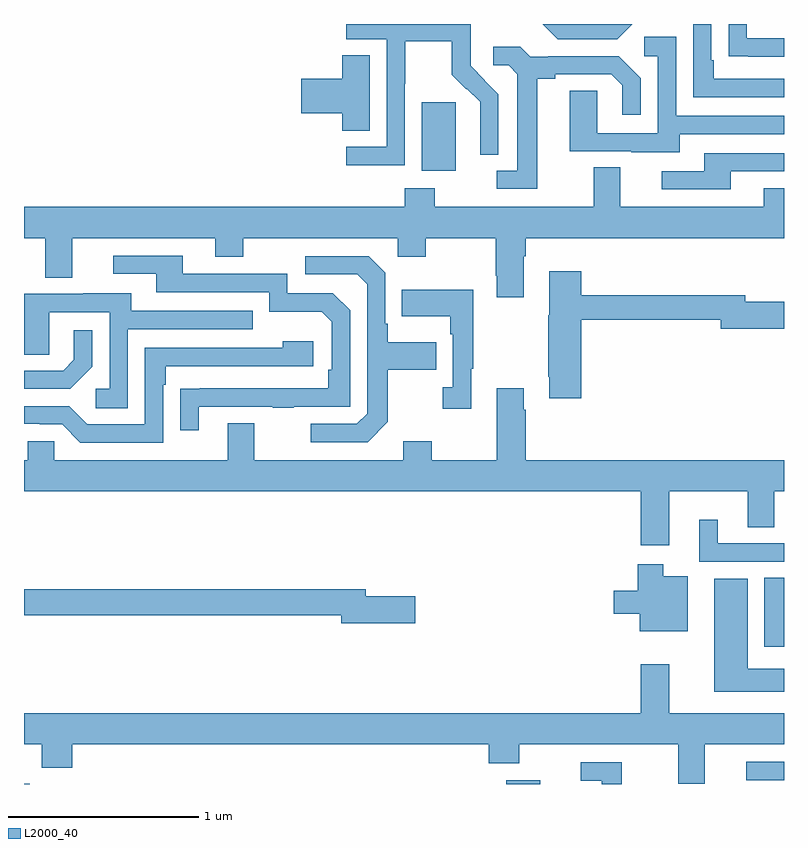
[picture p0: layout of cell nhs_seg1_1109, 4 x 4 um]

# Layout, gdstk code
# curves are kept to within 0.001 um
import gdstk
lib = gdstk.Library(unit=1e-6, precision=1e-09)
def R(c, l, rs):  # rectangles x0, y0, x1, y1
    for r in rs: c.add(gdstk.rectangle(r[:2], r[2:], *l))
def P(c, l, *ps):  # polygons
    for p in ps: c.add(gdstk.Polygon(p, *l))
L2000_40 = (2000, 40)

nhs_seg1_1109 = lib.new_cell('nhs_seg1_1109')
R(nhs_seg1_1109, L2000_40, [(171,542.199,171.031,542.201), (173.537,542.199,173.716,542.218), (174.801,542.22,175,542.316), (174.896,542.922,175,543.284), (173.093,545.426,173.272,545.787)])
P(nhs_seg1_1109, L2000_40, [(175,545.91),(174.631,545.91),(174.631,546.007),(174.618,546.007),(174.618,546.199),(174.522,546.199),(174.522,545.814),(175,545.814)],
  [(174.202,546.199),(173.729,546.199),(173.808,546.12),(174.123,546.12)],
  [(173.004,545.884),(173.007,545.884),(173.007,546.108),(173.251,546.108),(173.251,545.933),(173.328,545.856),(173.331,545.859),(173.402,545.789),(173.402,545.666),(173.4,545.666),(173.4,545.512),(173.496,545.512),(173.496,545.83),(173.35,545.978),(173.35,546.075),(173.352,546.075),(173.352,546.199),(172.695,546.199),(172.695,546.12),(172.908,546.12),(172.908,545.553),(172.695,545.553),(172.695,545.455),(173.004,545.455)],
  [(175,546.123),(174.805,546.123),(174.805,546.199),(174.709,546.199),(174.709,546.028),(174.811,546.028),(174.811,546.027),(175,546.027)],
  [(174.451,545.619),(175,545.619),(175,545.715),(174.432,545.715),(174.432,546.131),(174.264,546.131),(174.264,546.03),(174.336,546.03),(174.336,545.625),(174.018,545.625),(174.018,545.849),(173.873,545.849),(173.873,545.529),(174.197,545.529),(174.197,545.525),(174.451,545.525)],
  [(173.701,545.912),(173.797,545.912),(173.797,545.934),(174.092,545.934),(174.149,545.877),(174.149,545.721),(174.246,545.721),(174.246,545.914),(174.13,546.03),(173.758,546.03),(173.758,546.027),(173.664,546.027),(173.612,546.079),(173.469,546.079),(173.469,545.982),(173.55,545.982),(173.597,545.935),(173.597,545.427),(173.487,545.427),(173.487,545.331),(173.701,545.331)],
  [(172.819,546.035),(172.676,546.035),(172.676,545.912),(172.458,545.912),(172.458,545.729),(172.676,545.729),(172.676,545.638),(172.819,545.638)],
  [(174.721,545.424),(175,545.424),(175,545.52),(174.581,545.52),(174.581,545.424),(174.357,545.424),(174.357,545.328),(174.721,545.328)],
  [(173.629,544.976),(173.642,544.976),(173.642,545.072),(175,545.072),(175,545.335),(174.893,545.335),(174.893,545.236),(174.139,545.236),(174.139,545.444),(173.999,545.444),(173.999,545.236),(173.163,545.236),(173.163,545.335),(173.003,545.335),(173.003,545.236),(171,545.236),(171,545.072),(171.113,545.072),(171.113,544.864),(171.253,544.864),(171.253,545.072),(172.007,545.072),(172.007,544.973),(172.155,544.973),(172.155,545.072),(172.968,545.072),(172.968,544.973),(173.115,544.973),(173.115,545.072),(173.482,545.072),(173.482,544.873),(173.489,544.873),(173.489,544.761),(173.629,544.761)],
  [(171.919,544.185),(172.309,544.185),(172.309,544.18),(172.421,544.18),(172.421,544.185),(172.716,544.185),(172.716,544.692),(172.626,544.782),(172.386,544.782),(172.386,544.884),(171.835,544.884),(171.835,544.98),(171.471,544.98),(171.471,544.884),(171.695,544.884),(171.695,544.788),(172.29,544.788),(172.29,544.685),(172.567,544.685),(172.62,544.632),(172.62,544.378),(172.6,544.378),(172.6,544.281),(171.823,544.28),(171.823,544.062),(171.919,544.062)],
  [(172.915,544.105),(172.915,544.378),(173.171,544.378),(173.171,544.525),(172.915,544.525),(172.915,544.621),(172.902,544.621),(172.902,544.89),(172.815,544.977),(172.479,544.977),(172.479,544.881),(172.755,544.881),(172.806,544.83),(172.806,544.149),(172.752,544.095),(172.509,544.095),(172.509,543.999),(172.809,543.999)],
  [(173.933,544.642),(174.668,544.642),(174.668,544.595),(175,544.595),(175,544.737),(174.796,544.737),(174.796,544.771),(173.933,544.771),(173.933,544.897),(173.765,544.897),(173.765,544.665),(173.758,544.665),(173.758,544.342),(173.765,544.342),(173.765,544.23),(173.933,544.23)],
  [(173.353,544.385),(173.365,544.385),(173.365,544.801),(172.987,544.801),(172.987,544.661),(173.244,544.661),(173.244,544.565),(173.256,544.565),(173.256,544.286),(173.205,544.286),(173.205,544.173),(173.353,544.173)],
  [(171.546,544.593),(172.205,544.593),(172.205,544.689),(171.565,544.689),(171.565,544.783),(171.311,544.783),(171.311,544.779),(171,544.779),(171,544.459),(171.132,544.459),(171.132,544.683),(171.45,544.683),(171.45,544.278),(171.378,544.278),(171.378,544.177),(171.546,544.177)],
  [(171.36,544.394),(171.36,544.588),(171.263,544.588),(171.263,544.431),(171.206,544.374),(171,544.374),(171,544.278),(171.244,544.278)],
  [(171.732,544.301),(171.745,544.301),(171.745,544.398),(172.522,544.398),(172.522,544.528),(172.361,544.528),(172.361,544.494),(171.636,544.494),(171.636,544.092),(171.333,544.092),(171.237,544.188),(171,544.188),(171,544.095),(171.083,544.095),(171.083,544.092),(171.201,544.092),(171.297,543.996),(171.732,543.996)],
  [(174.397,543.74),(174.809,543.74),(174.809,543.55),(174.949,543.55),(174.949,543.74),(175,543.74),(175,543.904),(173.642,543.904),(173.642,544.169),(173.629,544.169),(173.629,544.282),(173.489,544.282),(173.489,543.904),(173.145,543.904),(173.145,544.003),(172.997,544.003),(172.997,543.904),(172.213,543.904),(172.213,544.099),(172.073,544.099),(172.073,543.904),(171.159,543.904),(171.159,544.002),(171.021,544.002),(171.021,543.904),(171,543.904),(171,543.74),(174.245,543.74),(174.245,543.456),(174.397,543.456)],
  [(175,543.465),(174.652,543.465),(174.652,543.589),(174.554,543.589),(174.554,543.369),(175,543.369)],
  [(174.493,543.292),(174.364,543.292),(174.364,543.355),(174.23,543.355),(174.23,543.217),(174.105,543.217),(174.105,543.095),(174.242,543.095),(174.242,543.002),(174.493,543.002)],
  [(175,542.806),(174.808,542.806),(174.808,543.28),(174.632,543.28),(174.632,542.684),(175,542.684)],
  [(173.059,543.188),(172.798,543.188),(172.798,543.224),(171,543.224),(171,543.088),(172.67,543.088),(172.67,543.046),(173.059,543.046)],
  [(174.583,542.408),(175,542.408),(175,542.572),(174.397,542.572),(174.397,542.83),(174.245,542.83),(174.245,542.572),(171,542.572),(171,542.408),(171.094,542.408),(171.094,542.284),(171.254,542.284),(171.254,542.408),(173.447,542.408),(173.447,542.309),(173.607,542.309),(173.607,542.408),(174.443,542.408),(174.443,542.2),(174.583,542.2)],
  [(174.145,542.313),(173.931,542.313),(173.931,542.217),(174.041,542.217),(174.041,542.199),(174.145,542.199)])

lib.write_gds('nhs_seg1_1109.gds')
